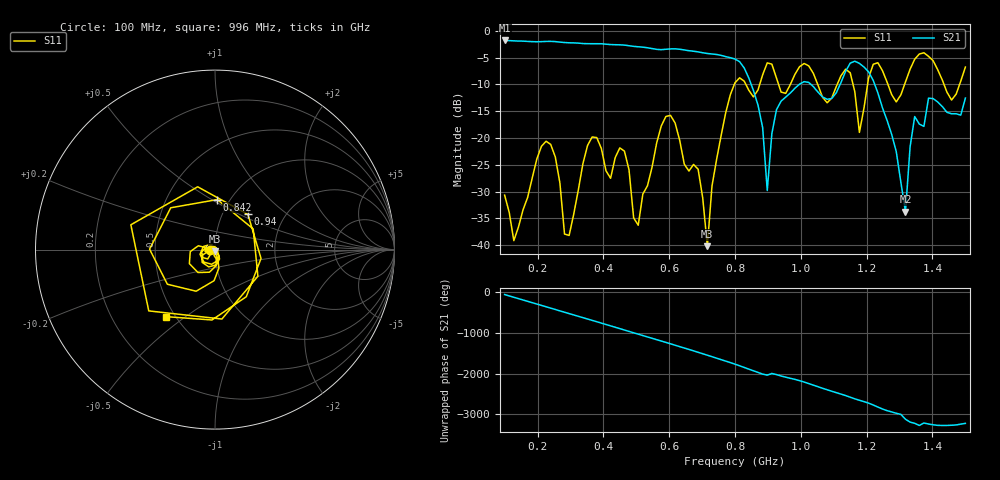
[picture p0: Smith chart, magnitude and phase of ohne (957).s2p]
! NanoVNA-App
! Date: 2025-09-25 14:28:15
! Start: 100MHz Stop: 1,5GHz Points: 101
! S-Parameter data: F S11 S21 S12 S22
# Hz S RI R 50
!  Frequency  S11_Real  S11_Imag  S21_Real  S21_Imag  S12_Real  S12_Imag  S22_Real  S22_Imag
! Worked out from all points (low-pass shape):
!   101 points, 100 MHz to 1.5 GHz, reference 50 ohm
!   highest |S21| = -1.79 dB at 100 MHz (marker M1); lowest = -33.8 dB at 1.318 GHz (marker M2)
!   |S21| within 3 dB of the highest: start of sweep to 770.8 MHz
!   lowest |S11| = -40.2 dB at 716 MHz (marker M3), VSWR 1.02, Z = 49.8 - j0.962 ohm
!   |S11| at or under -10 dB: start of sweep to 798 MHz; 833 MHz to 875.1 MHz (42 MHz wide, 4.92 % of centre); 1.051 GHz to 1.111 GHz (59.13 MHz wide, 5.47 % of centre) (the widest 3 of 7)
!   S12 and S22 are empty: the file has one direction only
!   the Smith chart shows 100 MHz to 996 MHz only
!   S11 on the Smith chart (normalised r, x): 100 MHz: 0.94, -0.01; 842 MHz: 0.88, +0.53; 940 MHz: 1.32, +0.56; 996 MHz: 0.45, -0.42
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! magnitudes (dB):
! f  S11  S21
! 100 MHz  -30.6  -1.8
! 128 MHz  -39.1  -1.9
! 226 MHz  -20.6  -2.0
! 296 MHz  -38.2  -2.2
! 338 MHz  -24.8  -2.4
! 464 MHz  -22.4  -2.7
! 506 MHz  -36.3  -3.0
! 576 MHz  -17.7  -3.5
! 688 MHz  -25.8  -3.9
! 716 MHz  -40.2  -4.2
! 800 MHz  -9.7  -5.3
! 842 MHz  -11.1  -8.8
! 898 MHz  -6.0  -29.8
! 940 MHz  -11.4  -13.1
! 996 MHz  -6.7  -10.0
! 1.038 GHz  -7.9  -10.4
! 1.178 GHz  -18.9  -6.1
! 1.22 GHz  -6.2  -9.2
! 1.276 GHz  -11.9  -19.3
! 1.318 GHz  -9.5  -33.8
! 1.346 GHz  -5.3  -16.0
! 1.5 GHz  -6.8  -12.5
